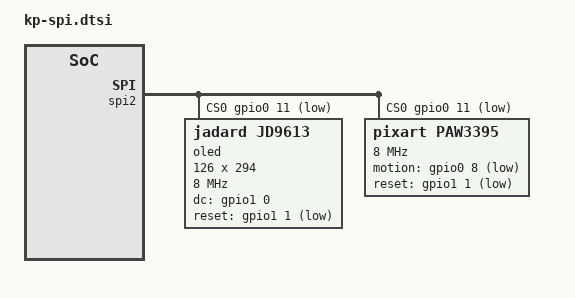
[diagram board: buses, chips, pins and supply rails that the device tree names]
/*
 * Copyright (c) 2026 The ZMK Contributors
 * SPDX-License-Identifier: MIT
 */

&spi2 {
    compatible = "nordic,nrf-spim";
    status = "okay";

    pinctrl-0 = <&spi2_default>;
    pinctrl-1 = <&spi2_sleep>;
    pinctrl-names = "default", "sleep";
    cs-gpios = <&gpio0 11 GPIO_ACTIVE_LOW>, <&gpio0 24 GPIO_ACTIVE_LOW>;

    oled: jd9613@0 {
        compatible = "jadard,jd9613";

        /* SPI */
        reg = <0>; /* ignored, but necessary for SPI bindings */
        dc-gpios = <&gpio1 0 GPIO_ACTIVE_HIGH>;
        reset-gpios = <&gpio1 1 GPIO_ACTIVE_LOW>;
        spi-max-frequency = <8000000>;

        width = <126>;
        height = <294>;
    };

    paw3395: paw3395@1 {
        compatible = "pixart,paw3395";

        /* SPI */
        reg = <0>; /* ignored, but necessary for SPI bindings */
        spi-max-frequency = <8000000>;
        motion-gpios = <&gpio0 8 GPIO_ACTIVE_LOW>;
        reset-gpios = <&gpio1 1 GPIO_ACTIVE_LOW>;
        cpi = <5000>;
    };
};
